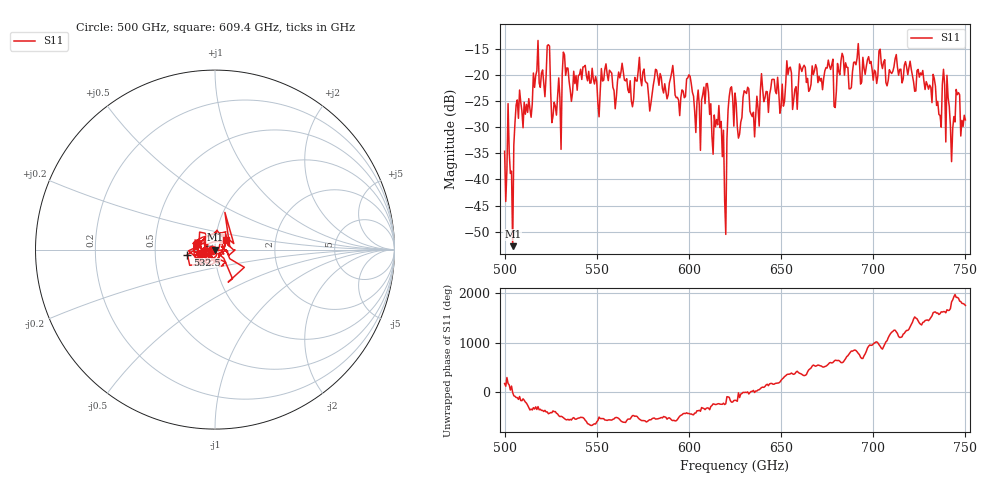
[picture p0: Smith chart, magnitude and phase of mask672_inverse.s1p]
!Created with skrf (http://scikit-rf.org).
# GHz S MA R 50.0
!freq magS11 angS11
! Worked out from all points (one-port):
!   401 points, 500 GHz to 750 GHz, reference 50 ohm
!   lowest |S11| = -52.8 dB at 504.4 GHz (marker M1), VSWR 1.00, Z = 50.2 - j0.00474 ohm
!   |S11| at or under -10 dB: start of sweep to end of sweep
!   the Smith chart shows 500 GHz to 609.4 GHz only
!   S11 on the Smith chart (normalised r, x): 500 GHz: 0.96, +0.00; 532.5 GHz: 0.73, -0.04; 609.4 GHz: 1.13, +0.12
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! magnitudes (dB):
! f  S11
! 500 GHz  -34.6
! 504.4 GHz  -52.8
! 506.9 GHz  -24.8
! 513.8 GHz  -26.5
! 516.9 GHz  -20.1
! 523.8 GHz  -14.2
! 526.9 GHz  -25.2
! 531.2 GHz  -19.8
! 532.5 GHz  -16.1
! 550.6 GHz  -25.5
! 562.5 GHz  -20.5
! 579.4 GHz  -25.4
! 590.6 GHz  -19.6
! 593.8 GHz  -24.3
! 600 GHz  -20.0
! 605 GHz  -22.9
! 609.4 GHz  -21.7
! 617.5 GHz  -28.9
! 619.4 GHz  -43.9
! 622.5 GHz  -22.6
! 625 GHz  -23.4
! 656.2 GHz  -26.6
! 687.5 GHz  -22.6
! 718.8 GHz  -20.0
! 738.8 GHz  -21.8
! 743.1 GHz  -30.3
! 745.6 GHz  -23.8
! 750 GHz  -28.6
